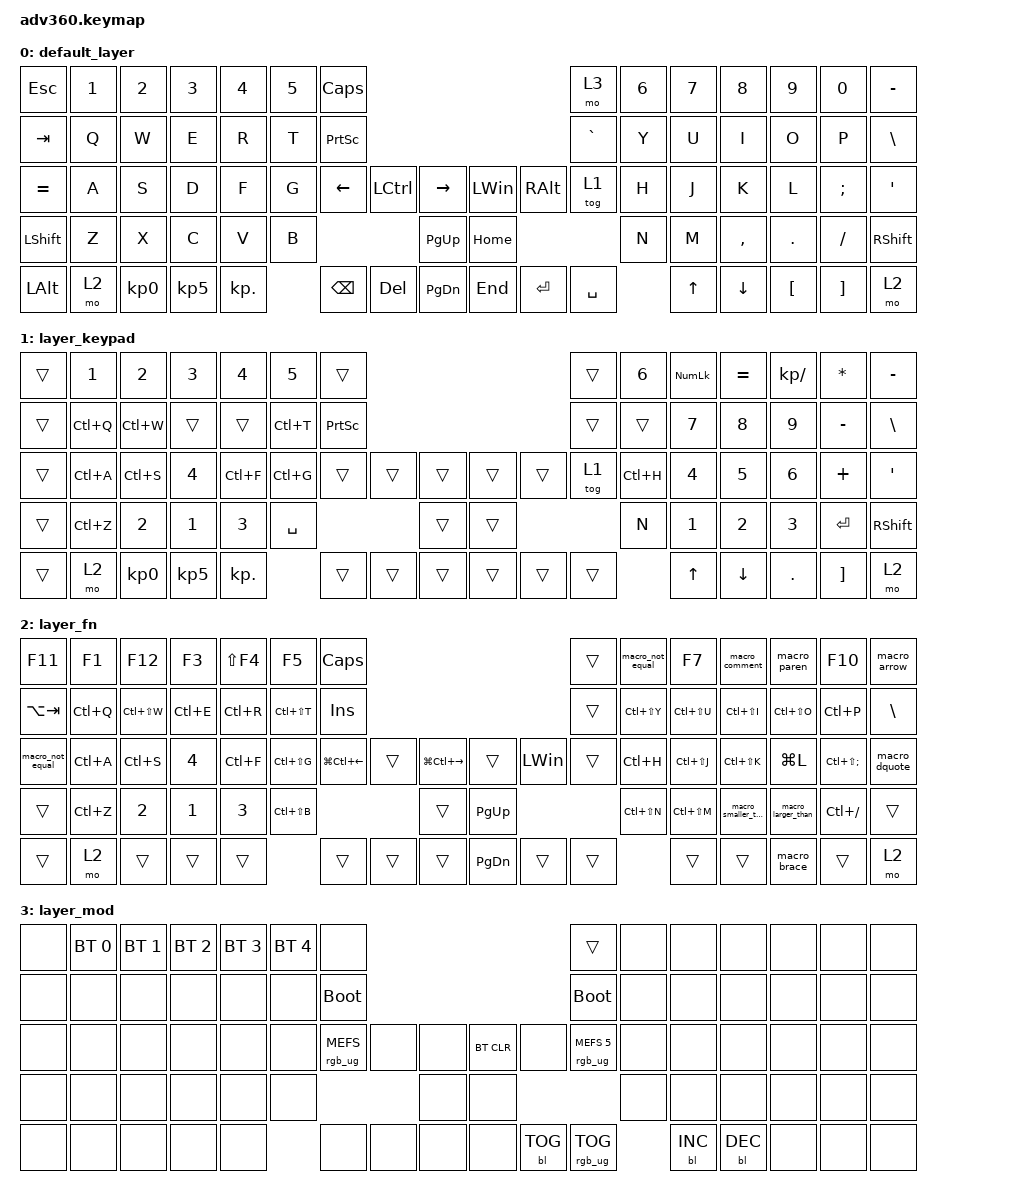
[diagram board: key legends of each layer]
/*
 * Copyright (c) 2020 The ZMK Contributors
 *
 * SPDX-License-Identifier: MIT
 */
/* THIS FILE WAS GENERATED!
 *
 * This file was generated automatically. You may or may not want to
 * edit it directly.
 */

#include <behaviors.dtsi>
#include <dt-bindings/zmk/backlight.h>
#include <dt-bindings/zmk/bt.h>
#include <dt-bindings/zmk/keys.h>
#include <dt-bindings/zmk/rgb.h>

/ {
    behaviors {
        #include "macros.dtsi"
    #include "version.dtsi"

        hm: homerow_mods {
            compatible = "zmk,behavior-hold-tap";
            label = "HOMEROW_MODS";
            #binding-cells = <2>;
            tapping-term-ms = <200>;
            quick_tap_ms = <175>;
            flavor = "tap-preferred";
            bindings = <&kp>, <&kp>;
        };
    };

    macros {
        macro_not_equal: macro_not_equal {
            compatible = "zmk,behavior-macro";
            #binding-cells = <0>;
            bindings = <&kp SPACE &kp CARET &kp EQUAL &kp SPACE>;
            label = "MACRO_NOT_EQUAL";
        };

        macro_comment: macro_comment {
            compatible = "zmk,behavior-macro";
            #binding-cells = <0>;
            bindings = <&kp FSLH &kp STAR &kp SPACE &kp SPACE &kp STAR &kp FSLH &kp LEFT_ARROW &kp LEFT_ARROW &kp LEFT_ARROW>;
            label = "MACRO_COMMENT";
        };

        macro_larger_than: macro_larger_than {
            compatible = "zmk,behavior-macro";
            #binding-cells = <0>;
            bindings = <&kp SPACE &kp GT &kp EQUAL &kp SPACE>;
            label = "MACRO_LARGER_THAN";
        };

        macro_arrow: macro_arrow {
            compatible = "zmk,behavior-macro";
            #binding-cells = <0>;
            bindings = <&kp SPACE &kp MINUS &kp GT &kp SPACE>;
            label = "MACRO_ARROW";
        };

        macro_smaller_than: macro_smaller_than {
            compatible = "zmk,behavior-macro";
            #binding-cells = <0>;
            bindings = <&kp SPACE &kp LT &kp EQUAL &kp SPACE>;
            label = "MACRO_SMALLER_THAN";
        };

        macro_dquote: macro_dquote {
            compatible = "zmk,behavior-macro";
            #binding-cells = <0>;
            bindings = <&kp DQT &kp DQT &kp LEFT_ARROW>;
            label = "MACRO_DQUOTE";
        };

        macro_brace: macro_brace {
            compatible = "zmk,behavior-macro";
            #binding-cells = <0>;
            bindings = <&kp LEFT_BRACE &kp RIGHT_BRACE &kp LEFT_ARROW>;
            label = "MACRO_BRACE";
        };

        macro_paren: macro_paren {
            compatible = "zmk,behavior-macro";
            #binding-cells = <0>;
            bindings = <&kp LPAR &kp RPAR &kp LEFT_ARROW>;
            label = "MACRO_PAREN";
        };
    };

    keymap {
        compatible = "zmk,keymap";

        default_layer {
            bindings = <
&kp ESCAPE    &kp N1  &kp N2     &kp N3     &kp N4      &kp N5  &kp CAPSLOCK                                                                       &mo 3      &kp N6  &kp N7  &kp N8     &kp N9    &kp N0    &kp MINUS
&kp TAB       &kp Q   &kp W      &kp E      &kp R       &kp T   &kp PRINTSCREEN                                                                    &kp GRAVE  &kp Y   &kp U   &kp I      &kp O     &kp P     &kp BACKSLASH
&kp EQUAL     &kp A   &kp S      &kp D      &kp F       &kp G   &kp LEFT         &kp LEFT_CONTROL  &kp RIGHT          &kp LEFT_WIN  &kp RIGHT_ALT  &tog 1     &kp H   &kp J   &kp K      &kp L     &kp SEMI  &kp SQT
&kp LSHFT     &kp Z   &kp X      &kp C      &kp V       &kp B                                      &kp PG_UP          &kp HOME                                &kp N   &kp M   &kp COMMA  &kp DOT   &kp FSLH  &kp RSHFT
&kp LEFT_ALT  &mo 2   &kp KP_N0  &kp KP_N5  &kp KP_DOT          &kp BSPC         &kp DEL           &kp PAGE_DOWN      &kp END       &kp ENTER      &kp SPACE          &kp UP  &kp DOWN   &kp LBKT  &kp RBKT  &mo 2
            >;
        };

        layer_keypad {
            bindings = <
&trans  &kp NUMBER_1  &kp N2        &kp NUMBER_3  &kp N4        &kp N5     &trans                                               &trans  &kp N6     &kp KP_NUM    &kp EQUAL  &kp KP_DIVIDE  &kp STAR   &kp MINUS
&trans  &kp LC(Q)     &kp LC(W)     &trans        &trans        &kp LC(T)  &kp PRINTSCREEN                                      &trans  &trans     &kp N7        &kp N8     &kp N9         &kp MINUS  &kp BSLH
&trans  &kp LC(A)     &kp LC(S)     &kp NUMBER_4  &kp LC(F)     &kp LC(G)  &trans           &trans  &trans      &trans  &trans  &tog 1  &kp LC(H)  &kp N4        &kp N5     &kp N6         &kp PLUS   &kp SQT
&trans  &kp LC(Z)     &kp NUMBER_2  &kp NUMBER_1  &kp NUMBER_3  &kp SPACE                           &trans      &trans                  &kp N      &kp NUMBER_1  &kp N2     &kp N3         &kp ENTER  &kp RSHFT
&trans  &mo 2         &kp KP_N0     &kp KP_N5     &kp KP_DOT               &trans           &trans  &trans      &trans  &trans  &trans             &kp UP        &kp DOWN   &kp DOT        &kp RBKT   &mo 2
            >;
        };

        layer_fn {
            bindings = <
&kp F11           &kp F1     &kp F12        &kp F3        &kp LS(F4)    &kp F5         &kp CAPSLOCK                                                                  &trans  &macro_not_equal  &kp F7         &macro_comment       &macro_paren        &kp F10           &macro_arrow
&kp LA(TAB)       &kp LC(Q)  &kp LC(LS(W))  &kp LC(E)     &kp LC(R)     &kp LC(LS(T))  &kp INSERT                                                                    &trans  &kp LC(LS(Y))     &kp LC(LS(U))  &kp LC(LS(I))        &kp LC(LS(O))       &kp LC(P)         &kp BACKSLASH
&macro_not_equal  &kp LC(A)  &kp LC(S)      &kp NUMBER_4  &kp LC(F)     &kp LC(LS(G))  &kp LG(LC(LEFT))  &trans  &kp LG(LC(RIGHT))      &trans         &kp LEFT_WIN  &trans  &kp LC(H)         &kp LC(LS(J))  &kp LC(LS(K))        &kp LG(L)           &kp LC(LS(SEMI))  &macro_dquote
&trans            &kp LC(Z)  &kp NUMBER_2   &kp NUMBER_1  &kp NUMBER_3  &kp LC(LS(B))                            &trans                 &kp PAGE_UP                          &kp LC(LS(N))     &kp LC(LS(M))  &macro_smaller_than  &macro_larger_than  &kp LC(SLASH)     &trans
&trans            &mo 2      &trans         &trans        &trans                       &trans            &trans  &trans                 &kp PAGE_DOWN  &trans        &trans                    &trans         &trans               &macro_brace        &trans            &mo 2
            >;
        };

        layer_mod {
            bindings = <
&none  &bt BT_SEL 0  &bt BT_SEL 1  &bt BT_SEL 2  &bt BT_SEL 3  &bt BT_SEL 4  &none                                                           &trans                  &none  &none       &none       &none  &none  &none
&none  &none         &none         &none         &none         &none         &bootloader                                                     &bootloader             &none  &none       &none       &none  &none  &none
&none  &none         &none         &none         &none         &none         &rgb_ug RGB_MEFS_CMD  &none  &none      &bt BT_CLR  &none       &rgb_ug RGB_MEFS_CMD 5  &none  &none       &none       &none  &none  &none
&none  &none         &none         &none         &none         &none                                      &none      &none                                           &none  &none       &none       &none  &none  &none
&none  &none         &none         &none         &none                       &none                 &none  &none      &none       &bl BL_TOG  &rgb_ug RGB_TOG                &bl BL_INC  &bl BL_DEC  &none  &none  &none
            >;
        };
    };
};
